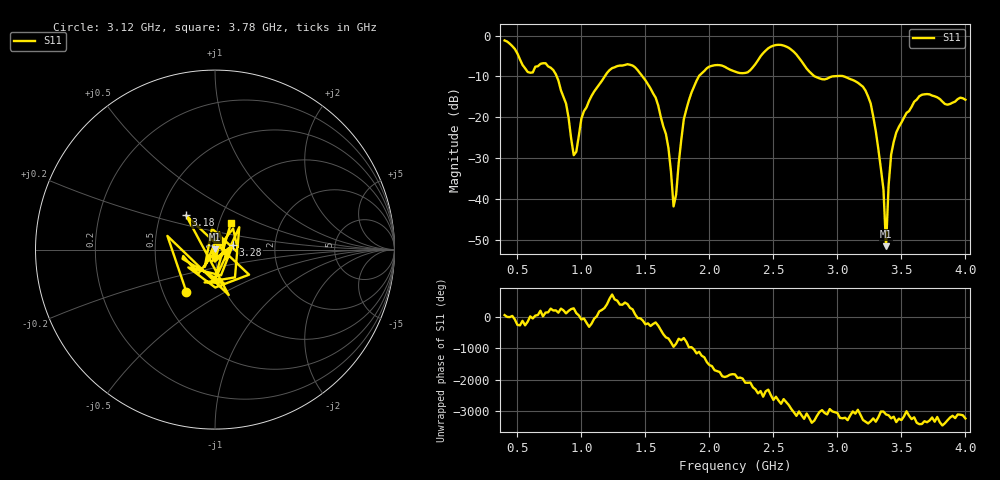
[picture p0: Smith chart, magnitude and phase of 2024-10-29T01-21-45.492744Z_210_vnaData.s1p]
!Created with skrf (http://scikit-rf.org).
# Hz S RI R 50.0
!freq ReS11 ImS11
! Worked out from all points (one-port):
!   181 points, 400 MHz to 4 GHz, reference 50 ohm
!   lowest |S11| = -51.6 dB at 3.38 GHz (marker M1), VSWR 1.01, Z = 49.8 + j0.173 ohm
!   |S11| at or under -10 dB: 807 MHz to 1.183 GHz (376.1 MHz wide, 37.8 % of centre); 1.478 GHz to 1.918 GHz (439.2 MHz wide, 25.9 % of centre); 3.049 GHz to end of sweep (the widest 3 of 4)
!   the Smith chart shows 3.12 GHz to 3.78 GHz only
!   S11 on the Smith chart (normalised r, x): 3.12 GHz: 0.66, -0.34; 3.18 GHz: 0.68, +0.28; 3.28 GHz: 1.22, +0.06; 3.78 GHz: 1.14, +0.35
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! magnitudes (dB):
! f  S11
! 400 MHz  -1.2
! 580 MHz  -8.9
! 780 MHz  -8.4
! 860 MHz  -15.0
! 940 MHz  -29.3
! 1.08 GHz  -14.8
! 1.3 GHz  -7.4
! 1.58 GHz  -15.2
! 1.68 GHz  -27.6
! 1.72 GHz  -41.9
! 1.76 GHz  -31.3
! 1.8 GHz  -20.5
! 1.92 GHz  -9.9
! 2.2 GHz  -8.8
! 2.5 GHz  -2.5
! 2.66 GHz  -4.0
! 2.82 GHz  -10.0
! 3.1 GHz  -10.7
! 3.12 GHz  -10.9
! 3.18 GHz  -12.0
! 3.28 GHz  -19.8
! 3.36 GHz  -37.7
! 3.38 GHz  -51.6
! 3.4 GHz  -36.7
! 3.42 GHz  -29.1
! 3.56 GHz  -18.5
! 3.78 GHz  -15.1
! 4 GHz  -15.7
